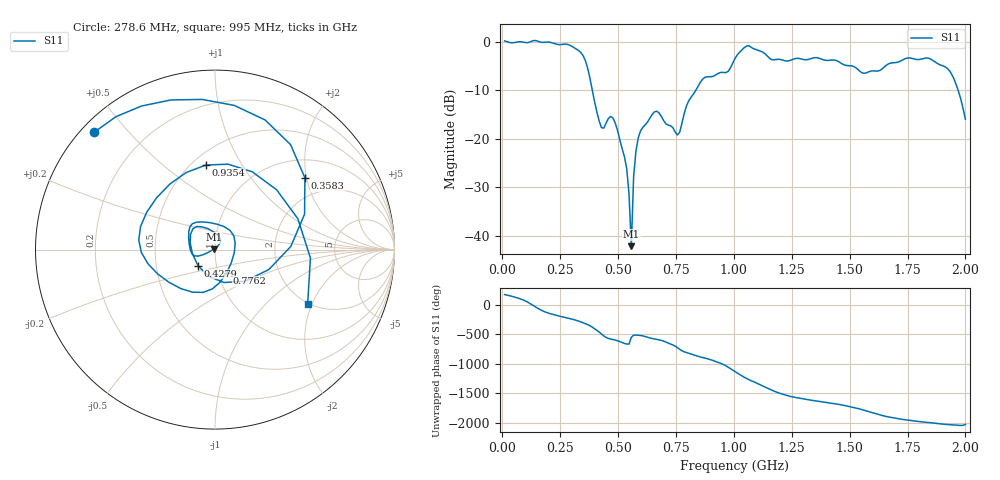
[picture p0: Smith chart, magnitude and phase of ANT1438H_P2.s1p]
!Created with skrf (http://scikit-rf.org).
# Hz S RI R 50.0
!freq ReS11 ImS11
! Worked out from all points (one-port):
!   201 points, 10 MHz to 2 GHz, reference 50 ohm
!   lowest |S11| = -42.2 dB at 557.2 MHz (marker M1), VSWR 1.02, Z = 49.3 + j0.194 ohm
!   |S11| at or under -10 dB: 388.6 MHz to 836.3 MHz (447.8 MHz wide, 73.1 % of centre); 1.968 GHz to end of sweep
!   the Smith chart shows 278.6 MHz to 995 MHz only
!   S11 on the Smith chart (normalised r, x): 278.6 MHz: 0.04, +0.41; 358.2 MHz: 1.44, +1.96; 427.9 MHz: 0.82, -0.15; 776.1 MHz: 1.10, -0.29; 935.4 MHz: 0.58, +0.71; 995 MHz: 1.98, -1.86
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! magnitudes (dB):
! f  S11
! 10 MHz  0.1
! 258.8 MHz  -0.6
! 278.6 MHz  -0.6
! 358.2 MHz  -3.9
! 427.9 MHz  -17.7
! 477.6 MHz  -15.7
! 507.5 MHz  -20.2
! 537.4 MHz  -26.2
! 547.3 MHz  -31.4
! 557.2 MHz  -42.2
! 567.2 MHz  -27.8
! 577.1 MHz  -22.6
! 597 MHz  -18.4
! 666.7 MHz  -14.4
! 756.2 MHz  -19.3
! 776.1 MHz  -16.8
! 796 MHz  -13.2
! 855.8 MHz  -8.4
! 935.4 MHz  -6.5
! 995 MHz  -4.5
! 1.005 GHz  -3.5
! 1.065 GHz  -0.9
! 1.254 GHz  -3.7
! 1.502 GHz  -5.0
! 1.562 GHz  -6.5
! 1.751 GHz  -3.4
! 1.93 GHz  -6.0
! 2 GHz  -16.0
